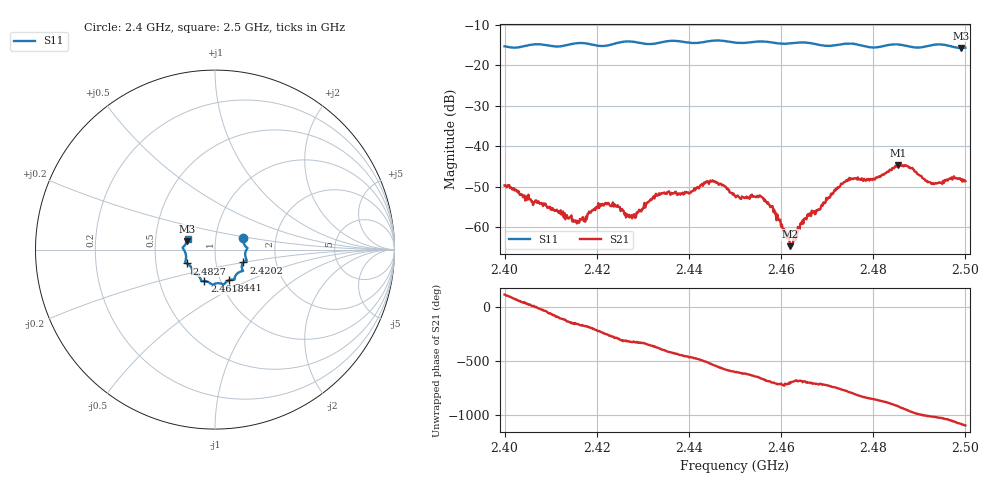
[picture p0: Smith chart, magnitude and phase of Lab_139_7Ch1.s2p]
# Hz S RI R 50
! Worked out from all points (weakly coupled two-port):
!   601 points, 2.4 GHz to 2.5 GHz, reference 50 ohm
!   highest |S21| = -44.68 dB at 2.4853 GHz (marker M1); lowest = -64.7 dB at 2.462 GHz (marker M2)
!   lowest |S11| = -15.8 dB at 2.499 GHz (marker M3), VSWR 1.39, Z = 36.4 + j3.48 ohm
!   |S11| at or under -10 dB: start of sweep to end of sweep
!   S12 and S22 are empty: the file has one direction only
!   S11 on the Smith chart (normalised r, x): 2.4 GHz: 1.36, +0.18; 2.4202 GHz: 1.36, -0.20; 2.441 GHz: 1.10, -0.39; 2.4618 GHz: 0.84, -0.30; 2.4827 GHz: 0.72, -0.12; 2.5 GHz: 0.73, +0.09
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2.4e9  0.1585 0.063  -0.00144 0.00294  0 0  0 0
2.415167e9  0.1759 -0.0567  -0.00112 -0.000454  0 0  0 0
2.416667e9  0.1773 -0.061  -0.00125 -0.000194  0 0  0 0
2.420167e9  0.1585 -0.0714  -0.00126 0.00121  0 0  0 0
2.424e9  0.1511 -0.1065  0.000488 0.00174  0 0  0 0
2.428e9  0.1524 -0.1198  0.0011 0.000926  0 0  0 0
2.433333e9  0.1115 -0.1509  0.00234 -0.000838  0 0  0 0
2.441e9  0.0787 -0.1698  -0.00117 -0.00259  0 0  0 0
2.445167e9  0.0517 -0.1935  -0.00378 -0.000272  0 0  0 0
2.45e9  0.0285 -0.1875  -0.00107 0.00221  0 0  0 0
2.456e9  -0.0162 -0.1951  0.00148 0.00174  0 0  0 0
2.458333e9  -0.0275 -0.1872  0.00147 0.000463  0 0  0 0
2.461833e9  -0.0591 -0.1754  0.000647 8.23e-05  0 0  0 0
2.462e9  -0.0604 -0.1753  0.000539 0.000222  0 0  0 0
2.466667e9  -0.0787 -0.1682  0.00156 0.000361  0 0  0 0
2.474333e9  -0.1262 -0.1341  0.00169 -0.0033  0 0  0 0
2.482667e9  -0.156 -0.0772  -0.00446 -0.00128  0 0  0 0
2.483333e9  -0.1604 -0.0753  -0.00478 -0.000652  0 0  0 0
2.485333e9  -0.1658 -0.0702  -0.00542 0.00215  0 0  0 0
2.492833e9  -0.1769 0.0039  0.00164 0.00306  0 0  0 0
2.499e9  -0.1555 0.0465  0.0038 -0.000493  0 0  0 0
2.5e9  -0.1524 0.0607  0.00346 -0.00132  0 0  0 0
